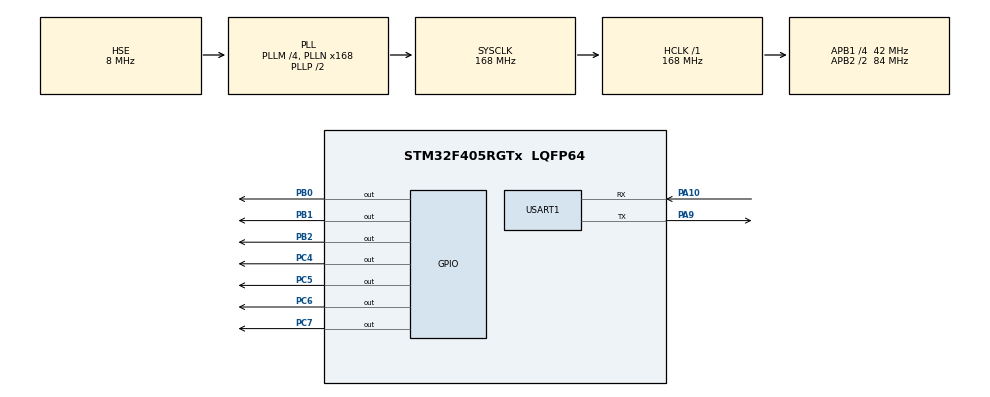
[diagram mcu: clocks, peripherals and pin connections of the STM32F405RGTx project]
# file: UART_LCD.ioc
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Mcu.Family=STM32F4
Mcu.Name=STM32F405RGTx
Mcu.Package=LQFP64
NVIC.PriorityGroup=NVIC_PRIORITYGROUP_4
NVIC.USART1_IRQn=true\:0\:0\:false\:false\:true\:true\:true
PA10.Mode=Asynchronous
PA10.Signal=USART1_RX
PA13.Mode=Serial_Wire
PA13.Signal=SYS_JTMS-SWDIO
PA14.Mode=Serial_Wire
PA14.Signal=SYS_JTCK-SWCLK
PA9.Mode=Asynchronous
PA9.Signal=USART1_TX
PB0.Signal=GPIO_Output
PB1.Signal=GPIO_Output
PB2.Signal=GPIO_Output
PC4.Signal=GPIO_Output
PC5.Signal=GPIO_Output
PC6.Signal=GPIO_Output
PC7.Signal=GPIO_Output
PH0-OSC_IN.Mode=HSE-External-Oscillator
PH0-OSC_IN.Signal=RCC_OSC_IN
PH1-OSC_OUT.Mode=HSE-External-Oscillator
PH1-OSC_OUT.Signal=RCC_OSC_OUT
ProjectManager.HeapSize=0x200
ProjectManager.StackSize=0x400
ProjectManager.TargetToolchain=EWARM V8.32
RCC.48MHZClocksFreq_Value=84000000
RCC.AHBFreq_Value=168000000
RCC.APB1CLKDivider=RCC_HCLK_DIV4
RCC.APB1Freq_Value=42000000
RCC.APB1TimFreq_Value=84000000
RCC.APB2CLKDivider=RCC_HCLK_DIV2
RCC.APB2Freq_Value=84000000
RCC.APB2TimFreq_Value=168000000
RCC.CortexFreq_Value=168000000
RCC.HCLKFreq_Value=168000000
RCC.HSE_VALUE=8000000
RCC.HSI_VALUE=16000000
RCC.LSE_VALUE=32768
RCC.PLLM=4
RCC.PLLN=168
RCC.PLLSourceVirtual=RCC_PLLSOURCE_HSE
RCC.SYSCLKFreq_VALUE=168000000
RCC.SYSCLKSource=RCC_SYSCLKSOURCE_PLLCLK
RCC.VCOOutputFreq_Value=336000000
USART1.VirtualMode=VM_ASYNC
board=custom

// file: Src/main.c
/* USER CODE BEGIN Header */
/**
  ******************************************************************************
  * @file           : main.c
  * @brief          : Main program body
  ******************************************************************************
  * @attention
  *
  * <h2><center>&copy; Copyright (c) 2020 STMicroelectronics.
  * All rights reserved.</center></h2>
  *
  * This software component is licensed by ST under BSD 3-Clause license,
  * the "License"; You may not use this file except in compliance with the
  * License. You may obtain a copy of the License at:
  *                        opensource.org/licenses/BSD-3-Clause
  *
  ******************************************************************************
  */
/* USER CODE END Header */

#include "main.h"
#include "usart.h"
#include "gpio.h"

/* USER CODE BEGIN Includes */
#include "stdio.h"
#include "lcd.h"
#include "string.h"
/* USER CODE END Includes */

void SystemClock_Config(void);
/* USER CODE BEGIN PFP */
void putch(uint8_t c){
  HAL_UART_Transmit(&huart1, &c, sizeof(c), 10);
}
/* USER CODE END PFP */

/* USER CODE BEGIN 0 */
uint8_t rxData = 0;
uint8_t ch;
uint8_t text[10];
uint8_t text1[10];
unsigned char i = 0;
unsigned char j = 0;
unsigned char k = 0;
unsigned char max = 0;
unsigned char max1 = 0;
/* USER CODE END 0 */

int main(void)
{

  /* MCU Configuration--------------------------------------------------------*/

  /* Reset of all peripherals, Initializes the Flash interface and the Systick. */
  HAL_Init();

  /* Configure the system clock */
  SystemClock_Config();

  /* USER CODE BEGIN SysInit */
//  HAL_UART_Receive_IT(&huart1, &rxData, 1);
  /* USER CODE END SysInit */

  /* Initialize all configured peripherals */
  MX_GPIO_Init();
  MX_USART1_UART_Init();
  /* USER CODE BEGIN 2 */
  HAL_UART_Receive_IT(&huart1, &rxData, 1);
  lcdInit();
  lcdGotoXY(0, 0);
  /* USER CODE END 2 */

  /* Infinite loop */
  /* USER CODE BEGIN WHILE */
  while (1)
  {
    i = 0;
    j = 0;

    ch = rxData;

    lcdGotoXY(0, 0);
   if(ch!=0){
     lcdInit();
     for(j = 0; j <max ; j++){
      lcdDataWrite(text[j]);
     }

     lcdGotoXY(0, 1);
     if(max1 > 0){
      for(j = 0; j <max1; j++){
      lcdDataWrite(text1[j]);
      }
     }

     max = 0;
     max1 = 0;
     i = 0;
     k = 0;
    ch = 0;
    rxData = 0;
   }

//    while(HAL_UART_Receive(&huart1, &ch, sizeof(ch), 10) == HAL_OK) {
//      HAL_UART_Transmit(&huart1, &ch, sizeof(ch), 10);
//      text[i] = ch;
//      lcdDataWrite(text[i]);
//      i++;
//      if(i == 9){
//        lcdGotoXY(0, 1);
//        text1[j] = ch;
//        lcdDataWrite(text1[j]);
//      }
//    }
    /* USER CODE END WHILE */

  }
}

void SystemClock_Config(void)
{
  RCC_OscInitTypeDef RCC_OscInitStruct = {0};
  RCC_ClkInitTypeDef RCC_ClkInitStruct = {0};

  /** Configure the main internal regulator output voltage
  */
  __HAL_RCC_PWR_CLK_ENABLE();
  __HAL_PWR_VOLTAGESCALING_CONFIG(PWR_REGULATOR_VOLTAGE_SCALE1);
  /** Initializes the CPU, AHB and APB busses clocks
  */
  RCC_OscInitStruct.OscillatorType = RCC_OSCILLATORTYPE_HSE;
  RCC_OscInitStruct.HSEState = RCC_HSE_ON;
  RCC_OscInitStruct.PLL.PLLState = RCC_PLL_ON;
  RCC_OscInitStruct.PLL.PLLSource = RCC_PLLSOURCE_HSE;
  RCC_OscInitStruct.PLL.PLLM = 4;
  RCC_OscInitStruct.PLL.PLLN = 168;
  RCC_OscInitStruct.PLL.PLLP = RCC_PLLP_DIV2;
  RCC_OscInitStruct.PLL.PLLQ = 4;
  if (HAL_RCC_OscConfig(&RCC_OscInitStruct) != HAL_OK)
  {
    Error_Handler();
  }
  /** Initializes the CPU, AHB and APB busses clocks
  */
  RCC_ClkInitStruct.ClockType = RCC_CLOCKTYPE_HCLK|RCC_CLOCKTYPE_SYSCLK
                              |RCC_CLOCKTYPE_PCLK1|RCC_CLOCKTYPE_PCLK2;
  RCC_ClkInitStruct.SYSCLKSource = RCC_SYSCLKSOURCE_PLLCLK;
  RCC_ClkInitStruct.AHBCLKDivider = RCC_SYSCLK_DIV1;
  RCC_ClkInitStruct.APB1CLKDivider = RCC_HCLK_DIV4;
  RCC_ClkInitStruct.APB2CLKDivider = RCC_HCLK_DIV2;

  if (HAL_RCC_ClockConfig(&RCC_ClkInitStruct, FLASH_LATENCY_5) != HAL_OK)
  {
    Error_Handler();
  }
}

/* USER CODE BEGIN 4 */
void HAL_UART_RxCpltCallback(UART_HandleTypeDef *huart)
{
  if(huart->Instance == USART1) {
    HAL_UART_Receive_IT(&huart1, &rxData, 1);

    if(i <= 16){
      text[i] = rxData;
      i++;
      if(max < i){
       max = i;
      }
    }

    if(i > 16 && k <= 16){
      text1[k] = rxData;
      k++;
      if(max1 < k){
        max1 = k;
      }
    }
    HAL_UART_Transmit(&huart1, &rxData, 1, 10);
  }
//  i++;
}
/* USER CODE END 4 */

void Error_Handler(void)
{
}

/************************ (C) COPYRIGHT STMicroelectronics *****END OF FILE****/
